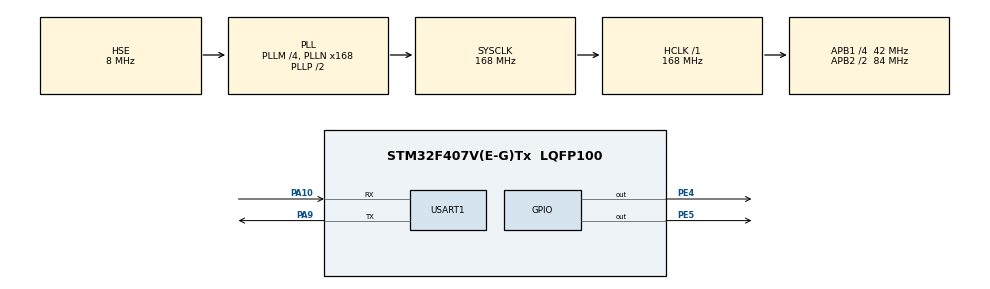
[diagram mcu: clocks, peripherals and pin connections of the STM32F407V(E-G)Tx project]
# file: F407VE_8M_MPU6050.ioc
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Mcu.Family=STM32F4
Mcu.Name=STM32F407V(E-G)Tx
Mcu.Package=LQFP100
NVIC.PriorityGroup=NVIC_PRIORITYGROUP_4
NVIC.USART1_IRQn=true\:0\:0\:false\:false\:true\:true\:true
PA10.Mode=Asynchronous
PA10.Signal=USART1_RX
PA13.Mode=Serial_Wire
PA13.Signal=SYS_JTMS-SWDIO
PA14.Mode=Serial_Wire
PA14.Signal=SYS_JTCK-SWCLK
PA9.Mode=Asynchronous
PA9.Signal=USART1_TX
PC14-OSC32_IN.Mode=LSE-External-Oscillator
PC14-OSC32_IN.Signal=RCC_OSC32_IN
PC15-OSC32_OUT.Mode=LSE-External-Oscillator
PC15-OSC32_OUT.Signal=RCC_OSC32_OUT
PE4.GPIO_ModeDefaultOutputPP=GPIO_MODE_OUTPUT_PP
PE4.GPIO_PuPd=GPIO_PULLUP
PE4.GPIO_Speed=GPIO_SPEED_FREQ_VERY_HIGH
PE4.PinState=GPIO_PIN_SET
PE4.Signal=GPIO_Output
PE5.GPIO_ModeDefaultOutputPP=GPIO_MODE_OUTPUT_PP
PE5.GPIO_PuPd=GPIO_PULLUP
PE5.GPIO_Speed=GPIO_SPEED_FREQ_VERY_HIGH
PE5.PinState=GPIO_PIN_SET
PE5.Signal=GPIO_Output
PH0-OSC_IN.Mode=HSE-External-Oscillator
PH0-OSC_IN.Signal=RCC_OSC_IN
PH1-OSC_OUT.Mode=HSE-External-Oscillator
PH1-OSC_OUT.Signal=RCC_OSC_OUT
ProjectManager.HeapSize=0x200
ProjectManager.StackSize=0x400
ProjectManager.TargetToolchain=MDK-ARM V5.27
RCC.48MHZClocksFreq_Value=84000000
RCC.AHBFreq_Value=168000000
RCC.APB1CLKDivider=RCC_HCLK_DIV4
RCC.APB1Freq_Value=42000000
RCC.APB1TimFreq_Value=84000000
RCC.APB2CLKDivider=RCC_HCLK_DIV2
RCC.APB2Freq_Value=84000000
RCC.APB2TimFreq_Value=168000000
RCC.CortexFreq_Value=168000000
RCC.HCLKFreq_Value=168000000
RCC.HSE_VALUE=8000000
RCC.HSI_VALUE=16000000
RCC.PLLM=4
RCC.PLLN=168
RCC.PLLSourceVirtual=RCC_PLLSOURCE_HSE
RCC.SYSCLKFreq_VALUE=168000000
RCC.SYSCLKSource=RCC_SYSCLKSOURCE_PLLCLK
RCC.VCOOutputFreq_Value=336000000
USART1.VirtualMode=VM_ASYNC
board=custom

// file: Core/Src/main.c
/* USER CODE BEGIN Header */
/**
  ******************************************************************************
  * @file           : main.c
  * @brief          : Main program body
  ******************************************************************************
  * @attention
  *
  * <h2><center>&copy; Copyright (c) 2021 STMicroelectronics.
  * All rights reserved.</center></h2>
  *
  * This software component is licensed by ST under BSD 3-Clause license,
  * the "License"; You may not use this file except in compliance with the
  * License. You may obtain a copy of the License at:
  *                        opensource.org/licenses/BSD-3-Clause
  *
  ******************************************************************************
  */
/* USER CODE END Header */
#include "main.h"
#include "usart.h"
#include "gpio.h"

/* USER CODE BEGIN Includes */
#include "MPU/mpu6050.h"
#include "MPU/MD6.12/core/driver/eMPL/inv_mpu.h"
#include "MPU/MD6.12/core/mllite/mpl.h"
#include "MPU/MD6.12/core/mpl/quaternion_supervisor.h"
#include "MPU/MD6.12/core/mpl/gyro_tc.h"
#include "MPU/MD6.12/core/eMPL-hal/eMPL_outputs.h"
#include "MPU/MD6.12/core/mpl/fast_no_motion.h"
#include "MPU/MD6.12/core/mpl/fast_no_motion.h"
#include "MPU/MD6.12/core/mpl/fast_no_motion.h"
#include "MPU/MD6.12/core/mllite/data_builder.h"
#include "MPU/MD6.12/core/mllite/ml_math_func.h"
#include "MPU/MD6.12/core/driver/eMPL/inv_mpu_dmp_motion_driver.h"
/* USER CODE END Includes */

/* USER CODE BEGIN PD */
#define ACCEL_ON        (0x01)
#define GYRO_ON         (0x02)
#define COMPASS_ON      (0x04)
#define DEFAULT_MPU_HZ (20)
/* USER CODE END PD */

/* USER CODE BEGIN PV */
MyUARTHandle uart1;
uint8_t uartBuf1[100];
uint16_t i2cAddr[10];
extern SoftI2C_Port MPU6050_Port;

struct platform_data_s {
    signed char orientation[9];
};
static struct platform_data_s gyro_pdata = {
    .orientation = { 1, 0, 0,
                     0, 1, 0,
                     0, 0, 1}
};
struct rx_s {
    unsigned char header[3];
    unsigned char cmd;
};
struct hal_s {
    unsigned char lp_accel_mode;
    unsigned char sensors;
    unsigned char dmp_on;
    unsigned char wait_for_tap;
    volatile unsigned char new_gyro;
    unsigned char motion_int_mode;
    unsigned long no_dmp_hz;
    unsigned long next_pedo_ms;
    unsigned long next_temp_ms;
    unsigned long next_compass_ms;
    unsigned int report;
    unsigned short dmp_features;
    struct rx_s rx;
};
static struct hal_s hal = {0};
/* USER CODE END PV */

void SystemClock_Config(void);

int main(void)
{
  /* USER CODE BEGIN 1 */
  uint32_t i, tmp;
  uint8_t data;
  uint8_t accel_fsr,  new_temp = 0;
  uint16_t gyro_rate, gyro_fsr;
  int16_t gyro[3], accel[3];
  int32_t quat[4];

  uint32_t sensor_timestamp;
  int16_t sensors;
  uint8_t more;
  /* USER CODE END 1 */

  /* MCU Configuration--------------------------------------------------------*/

  /* Reset of all peripherals, Initializes the Flash interface and the Systick. */
  HAL_Init();

  /* Configure the system clock */
  SystemClock_Config();

  /* Initialize all configured peripherals */
  MX_GPIO_Init();
  MX_USART1_UART_Init();
  /* USER CODE BEGIN 2 */
  Delay_Init(168);
  MyUART_Init(&uart1, USART1, uartBuf1, 100);
  SoftI2C_SetPort(&MPU6050_Port, GPIOE, 2, GPIOE, 3);
  SoftI2C_Init(&MPU6050_Port,100000,SI2C_ADDR_7b);
  printf("MPU Test\r\n");

  // find available device
  printf("available address: \r\n");
  Delay_ms(1000);
  tmp = SoftI2C_SearchAddr(&MPU6050_Port, 0x00, 0xFF, i2cAddr);
  for(i = 0; i < tmp; i++)
  {
    printf("0x%x ", i2cAddr[i]);
  }
  printf("\r\n");

  // read whoami register
  SoftI2C_Read(&MPU6050_Port, MPU6050_I2C_ADDR, 0x75, &data, 1);
  printf("whoami: 0x%x\r\n", data);
  printf("mpu_init(): %d\r\n", mpu_init(NULL));
  printf("inv_init_mpl(): %d\r\n", inv_init_mpl());
  printf("inv_enable_quaternion(): %d\r\n", inv_enable_quaternion());
  // printf("inv_enable_9x_sensor_fusion(): %d\r\n", inv_enable_9x_sensor_fusion());
  printf("inv_enable_fast_nomot(): %d\r\n", inv_enable_fast_nomot());
  printf("inv_enable_gyro_tc(): %d\r\n", inv_enable_gyro_tc());
  printf("inv_enable_eMPL_outputs(): %d\r\n", inv_enable_eMPL_outputs());
  printf("mpu_set_sensors(INV_XYZ_GYRO | INV_XYZ_ACCEL): %d\r\n", mpu_set_sensors(INV_XYZ_GYRO | INV_XYZ_ACCEL));
  printf("inv_start_mpl(): %d\r\n", inv_start_mpl());
  printf("mpu_configure_fifo(INV_XYZ_GYRO | INV_XYZ_ACCEL): %d\r\n", mpu_configure_fifo(INV_XYZ_GYRO | INV_XYZ_ACCEL));
  printf("mpu_set_sample_rate(): %d\r\n", mpu_set_sample_rate(DEFAULT_MPU_HZ));
  mpu_get_sample_rate(&gyro_rate);
  mpu_get_gyro_fsr(&gyro_fsr);
  mpu_get_accel_fsr(&accel_fsr);
  printf("gyro_rate: %u\r\ngyro_fsr: %u\r\naccel_fsr: %u\r\n", gyro_rate, gyro_fsr, accel_fsr);
  inv_set_gyro_sample_rate(1000000L / gyro_rate);
  inv_set_accel_sample_rate(1000000L / gyro_rate);
  inv_set_gyro_orientation_and_scale(inv_orientation_matrix_to_scalar(gyro_pdata.orientation), (long)gyro_fsr<<15);
  inv_set_accel_orientation_and_scale(inv_orientation_matrix_to_scalar(gyro_pdata.orientation), (long)accel_fsr<<15);
  hal.sensors = ACCEL_ON | GYRO_ON;
  hal.dmp_on = 0;
  hal.report = 0;
  hal.rx.cmd = 0;
  hal.next_pedo_ms = 0;
  hal.next_compass_ms = 0;
  hal.next_temp_ms = 0;
  // get_tick_count(&timestamp);
  printf("dmp_load_motion_driver_firmware(): %d\r\n", dmp_load_motion_driver_firmware());
  printf("dmp_set_orientation(): %d\r\n", dmp_set_orientation(inv_orientation_matrix_to_scalar(gyro_pdata.orientation)));
  // dmp_register_tap_cb(tap_cb);
  // dmp_register_android_orient_cb(android_orient_cb);
  hal.dmp_features = DMP_FEATURE_6X_LP_QUAT |
        DMP_FEATURE_SEND_RAW_ACCEL | DMP_FEATURE_SEND_CAL_GYRO |
        DMP_FEATURE_GYRO_CAL;
  printf("dmp_enable_feature(): %d\r\n", dmp_enable_feature(hal.dmp_features));
  printf("dmp_set_fifo_rate(): %d\r\n", dmp_set_fifo_rate(DEFAULT_MPU_HZ));
  printf("mpu_set_dmp_state(): %d\r\n", mpu_set_dmp_state(1));
  hal.dmp_on = 1;
  /* USER CODE END 2 */

  /* Infinite loop */
  while (1)
  {

    /* USER CODE BEGIN 3 */
    Delay_ms(100);
    mpu_get_gyro_reg(gyro, NULL);
    mpu_get_accel_reg(accel, NULL);
    printf("Raw:\r\n");
    printf("gyro: %d, %d, %d\r\n", gyro[0], gyro[1], gyro[2]);
    printf("accel: %d, %d, %d\r\n", accel[0], accel[1], accel[2]);
    dmp_read_fifo(gyro, accel, quat, &sensor_timestamp, &sensors, &more);
    if(!more)
      continue;
    printf("DMP:\r\n");
    printf("gyro: %d, %d, %d\r\n", gyro[0], gyro[1], gyro[2]);
    printf("accel: %d, %d, %d\r\n", accel[0], accel[1], accel[2]);
    printf("quat: %d, %d, %d, %d\r\n", quat[0], quat[1], quat[2], quat[3]);
    printf("sensors: 0x%x\r\n", sensors);
  }
  /* USER CODE END 3 */
}

void SystemClock_Config(void)
{
  RCC_OscInitTypeDef RCC_OscInitStruct = {0};
  RCC_ClkInitTypeDef RCC_ClkInitStruct = {0};

  /** Configure the main internal regulator output voltage
  */
  __HAL_RCC_PWR_CLK_ENABLE();
  __HAL_PWR_VOLTAGESCALING_CONFIG(PWR_REGULATOR_VOLTAGE_SCALE1);
  /** Initializes the RCC Oscillators according to the specified parameters
  * in the RCC_OscInitTypeDef structure.
  */
  RCC_OscInitStruct.OscillatorType = RCC_OSCILLATORTYPE_HSE;
  RCC_OscInitStruct.HSEState = RCC_HSE_ON;
  RCC_OscInitStruct.PLL.PLLState = RCC_PLL_ON;
  RCC_OscInitStruct.PLL.PLLSource = RCC_PLLSOURCE_HSE;
  RCC_OscInitStruct.PLL.PLLM = 4;
  RCC_OscInitStruct.PLL.PLLN = 168;
  RCC_OscInitStruct.PLL.PLLP = RCC_PLLP_DIV2;
  RCC_OscInitStruct.PLL.PLLQ = 4;
  if (HAL_RCC_OscConfig(&RCC_OscInitStruct) != HAL_OK)
  {
    Error_Handler();
  }
  /** Initializes the CPU, AHB and APB buses clocks
  */
  RCC_ClkInitStruct.ClockType = RCC_CLOCKTYPE_HCLK|RCC_CLOCKTYPE_SYSCLK
                              |RCC_CLOCKTYPE_PCLK1|RCC_CLOCKTYPE_PCLK2;
  RCC_ClkInitStruct.SYSCLKSource = RCC_SYSCLKSOURCE_PLLCLK;
  RCC_ClkInitStruct.AHBCLKDivider = RCC_SYSCLK_DIV1;
  RCC_ClkInitStruct.APB1CLKDivider = RCC_HCLK_DIV4;
  RCC_ClkInitStruct.APB2CLKDivider = RCC_HCLK_DIV2;

  if (HAL_RCC_ClockConfig(&RCC_ClkInitStruct, FLASH_LATENCY_5) != HAL_OK)
  {
    Error_Handler();
  }
}

void Error_Handler(void)
{
  __disable_irq();
  while (1)
  {
  }
}

/************************ (C) COPYRIGHT STMicroelectronics *****END OF FILE****/
